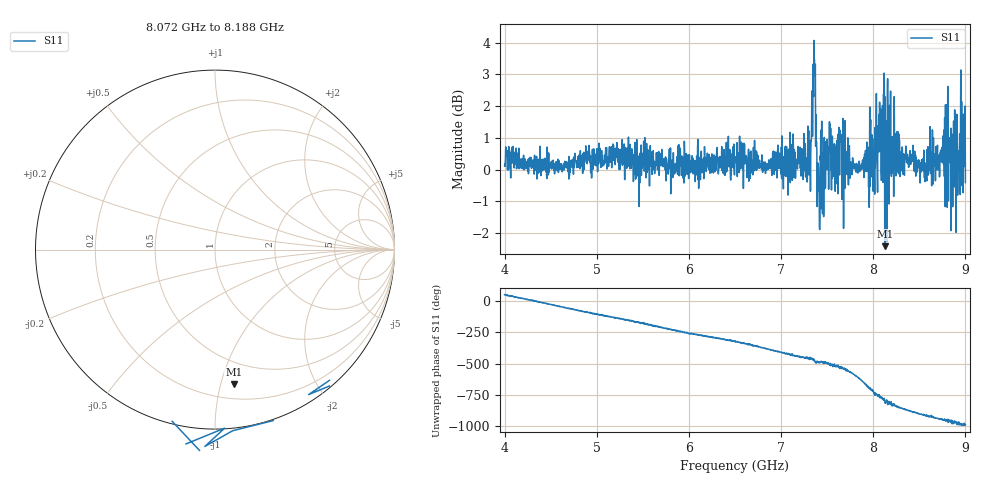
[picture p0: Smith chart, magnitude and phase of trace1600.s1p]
! Created with skrf 1.8.0 (http://scikit-rf.org).
# Hz S RI R 50.0
!freq ReS11 ImS11
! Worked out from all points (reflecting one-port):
!   1601 points, 4 GHz to 9 GHz, reference 50 ohm
!   lowest |S11| = -2.4 dB at 8.125 GHz (marker M1), VSWR 7.24, Z = 15.6 - j54.9 ohm
!   phase of S11 starts at 52 deg and turns -1041 deg over the sweep
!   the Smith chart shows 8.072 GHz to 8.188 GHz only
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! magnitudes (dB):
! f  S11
! 4 GHz  0.1
! 4.625 GHz  -0.1
! 5.25 GHz  0.0
! 5.875 GHz  -0.1
! 6.5 GHz  0.2
! 7.125 GHz  0.4
! 7.297 GHz  0.9
! 7.328 GHz  0.9
! 7.353 GHz  2.3
! 7.372 GHz  3.3
! 7.4 GHz  -0.2
! 7.412 GHz  -0.4
! 7.469 GHz  1.0
! 7.512 GHz  0.7
! 7.591 GHz  0.7
! 7.65 GHz  0.9
! 7.75 GHz  -0.1
! 8 GHz  -0.7
! 8.056 GHz  0.7
! 8.125 GHz  -2.4
! 8.178 GHz  2.0
! 8.197 GHz  -0.2
! 8.375 GHz  0.3
! 8.578 GHz  -0.2
! 8.784 GHz  2.0
! 8.919 GHz  0.0
! 8.972 GHz  0.6
! 9 GHz  -0.4
